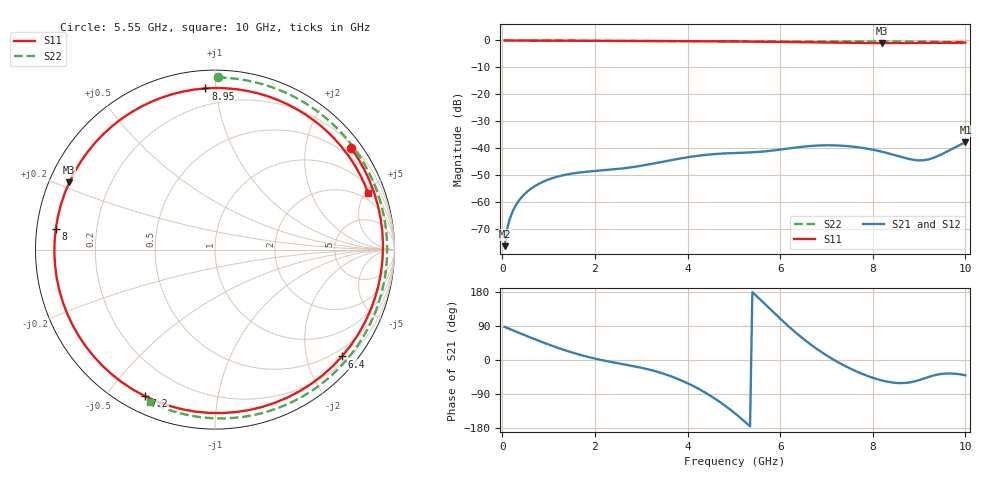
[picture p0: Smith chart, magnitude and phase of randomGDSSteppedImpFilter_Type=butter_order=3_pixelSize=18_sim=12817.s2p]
! freq	dB(S11)	phase(S11)	dB(S12)	phase(S12)
!  dB(S21)	phase(S21)	dB(S22)	phase(S22)
!S-par simulation data
#  GHz  S  DB  R 50
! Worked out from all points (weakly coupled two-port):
!   200 points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, 50 MHz to 10 GHz, reference 50 ohm
!   highest |S21| = -37.78 dB at 10 GHz (marker M1); lowest = -76.3 dB at 50 MHz (marker M2)
!   lowest |S11| = -1.0 dB at 8.2 GHz (marker M3), VSWR 17.90, Z = 2.93 + j11 ohm
!   |S11| at or under -10 dB: nowhere
!   |S22| runs from -0.7 to 0.0 dB; largest |S21 - S12| = 0
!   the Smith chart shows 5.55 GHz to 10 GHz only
!   S11 on the Smith chart (normalised r, x): 5.55 GHz: 0.28, +2.98; 6.4 GHz: 0.33, -2.71; 7.2 GHz: 0.07, -0.63; 8 GHz: 0.06, +0.07; 8.95 GHz: 0.10, +0.94; 10 GHz: 1.42, +5.22
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0.05  -0.00 -3.0  -76.30 87.4  -76.30 87.4  -0.00 -2.2
0.1  -0.01 -5.9  -70.32 84.8  -70.32 84.8  -0.01 -4.4
0.2  -0.02 -11.8  -64.37 79.7  -64.37 79.7  -0.01 -8.8
0.5  -0.04 -29.4  -56.68 64.6  -56.68 64.6  -0.03 -21.9
1.15  -0.08 -66.2  -50.71 34.2  -50.71 34.2  -0.07 -50.3
1.75  -0.12 -98.5  -48.82 11.3  -48.82 11.3  -0.10 -76.4
2.65  -0.16 -144.5  -47.37 -11.9  -47.37 -11.9  -0.15 -116.3
3.4  -0.21 177.3  -45.20 -33.0  -45.20 -33.0  -0.21 -151.4
4.25  -0.28 129.9  -42.72 -76.8  -42.72 -76.8  -0.28 165.0
5.05  -0.39 76.4  -41.73 -143.3  -41.73 -143.3  -0.34 119.3
5.55  -0.48 36.8  -41.33 161.9  -41.33 161.9  -0.36 89.1
6  -0.58 -2.8  -40.49 109.2  -40.49 109.2  -0.37 61.8
6.4  -0.68 -40.1  -39.58 65.8  -39.58 65.8  -0.36 38.3
6.7  -0.76 -68.5  -39.09 37.3  -39.09 37.3  -0.36 21.5
7.2  -0.87 -115.5  -38.93 -2.4  -38.93 -2.4  -0.36 -4.5
7.6  -0.93 -152.0  -39.44 -27.5  -39.44 -27.5  -0.37 -23.4
8  -0.97 172.5  -40.52 -46.9  -40.52 -46.9  -0.39 -40.8
8.2  -0.97 155.2  -41.27 -54.1  -41.27 -54.1  -0.40 -48.9
8.35  -0.97 142.4  -41.93 -58.0  -41.93 -58.0  -0.41 -54.8
8.95  -0.92 93.4  -44.43 -54.9  -44.43 -54.9  -0.48 -77.1
9.4  -0.86 59.8  -42.91 -38.3  -42.91 -38.3  -0.55 -92.8
10  -0.82 20.3  -37.78 -40.2  -37.78 -40.2  -0.69 -113.2
